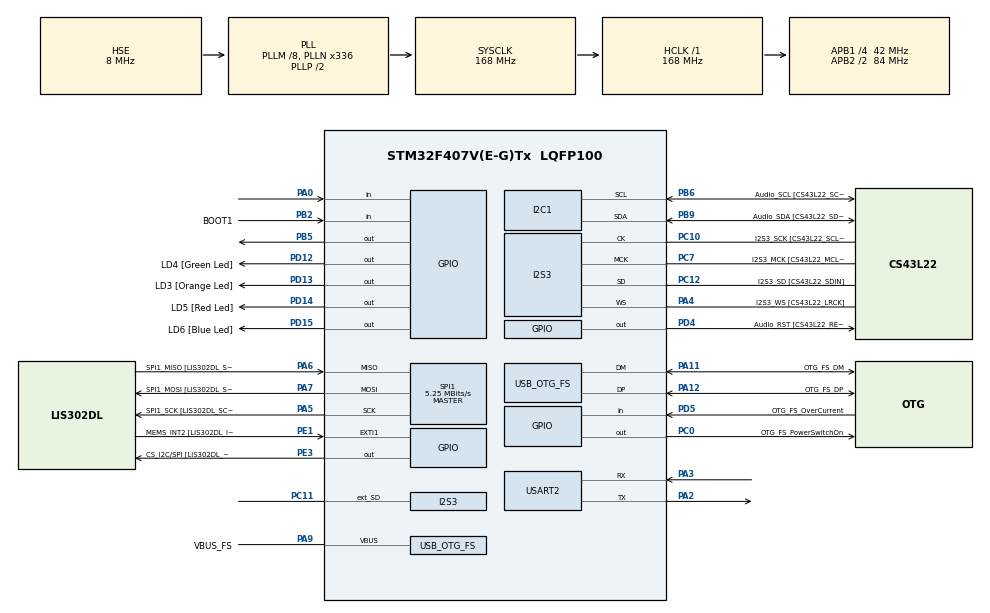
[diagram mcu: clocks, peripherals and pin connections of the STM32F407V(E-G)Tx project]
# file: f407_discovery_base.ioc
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Dma.Request0=SPI3_TX
Dma.SPI3_TX.0.Direction=DMA_MEMORY_TO_PERIPH
Dma.SPI3_TX.0.FIFOMode=DMA_FIFOMODE_DISABLE
Dma.SPI3_TX.0.Instance=DMA1_Stream5
Dma.SPI3_TX.0.MemDataAlignment=DMA_MDATAALIGN_BYTE
Dma.SPI3_TX.0.MemInc=DMA_MINC_ENABLE
Dma.SPI3_TX.0.Mode=DMA_NORMAL
Dma.SPI3_TX.0.PeriphDataAlignment=DMA_PDATAALIGN_BYTE
Dma.SPI3_TX.0.PeriphInc=DMA_PINC_DISABLE
Dma.SPI3_TX.0.Priority=DMA_PRIORITY_MEDIUM
I2S3.ErrorAudioFreq=-0.27 %
I2S3.FullDuplexMode=I2S_FULLDUPLEXMODE_ENABLE
I2S3.Instance=SPI$Index
I2S3.RealAudioFreq=7.978 KHz
I2S3.VirtualMode=I2S_MODE_MASTER
Mcu.Family=STM32F4
Mcu.Name=STM32F407V(E-G)Tx
Mcu.Package=LQFP100
NVIC.DMA1_Stream5_IRQn=true\:0\:0\:false\:false\:true\:false\:true\:true
NVIC.OTG_FS_IRQn=true\:0\:0\:false\:false\:true\:true\:true\:true
NVIC.PriorityGroup=NVIC_PRIORITYGROUP_0
PA0-WKUP.Signal=GPIO_Input
PA10.GPIO_Label=OTG_FS_ID
PA10.GPIO_Mode=GPIO_MODE_AF_PP
PA10.GPIO_PuPd=GPIO_NOPULL
PA10.GPIO_Speed=GPIO_SPEED_FREQ_LOW
PA10.Signal=USB_OTG_FS_ID
PA11.GPIO_Label=OTG_FS_DM
PA11.GPIO_Mode=GPIO_MODE_AF_PP
PA11.GPIO_PuPd=GPIO_NOPULL
PA11.GPIO_Speed=GPIO_SPEED_FREQ_LOW
PA11.Mode=Host_Only
PA11.Signal=USB_OTG_FS_DM
PA12.GPIO_Label=OTG_FS_DP
PA12.GPIO_Mode=GPIO_MODE_AF_PP
PA12.GPIO_PuPd=GPIO_NOPULL
PA12.GPIO_Speed=GPIO_SPEED_FREQ_LOW
PA12.Mode=Host_Only
PA12.Signal=USB_OTG_FS_DP
PA13.GPIO_Label=SWDIO
PA13.Mode=Serial_Wire
PA13.Signal=SYS_JTMS-SWDIO
PA14.GPIO_Label=SWCLK
PA14.Mode=Serial_Wire
PA14.Signal=SYS_JTCK-SWCLK
PA2.Mode=Asynchronous
PA2.Signal=USART2_TX
PA3.Mode=Asynchronous
PA3.Signal=USART2_RX
PA4.GPIO_Label=I2S3_WS [CS43L22_LRCK]
PA4.GPIO_Mode=GPIO_MODE_AF_PP
PA4.GPIO_PuPd=GPIO_NOPULL
PA4.GPIO_Speed=GPIO_SPEED_FREQ_LOW
PA4.Mode=Full_Duplex_Master
PA4.Signal=I2S3_WS
PA5.GPIO_Label=SPI1_SCK [LIS302DL_SCL/SPC]
PA5.GPIO_Mode=GPIO_MODE_AF_PP
PA5.GPIO_PuPd=GPIO_NOPULL
PA5.GPIO_Speed=GPIO_SPEED_FREQ_LOW
PA5.Mode=Full_Duplex_Master
PA5.Signal=SPI1_SCK
PA6.GPIO_Label=SPI1_MISO [LIS302DL_SDO]
PA6.GPIO_Mode=GPIO_MODE_AF_PP
PA6.GPIO_PuPd=GPIO_NOPULL
PA6.GPIO_Speed=GPIO_SPEED_FREQ_LOW
PA6.Mode=Full_Duplex_Master
PA6.Signal=SPI1_MISO
PA7.GPIO_Label=SPI1_MOSI [LIS302DL_SDA/SDI/SDO]
PA7.GPIO_Mode=GPIO_MODE_AF_PP
PA7.GPIO_PuPd=GPIO_NOPULL
PA7.GPIO_Speed=GPIO_SPEED_FREQ_LOW
PA7.Mode=Full_Duplex_Master
PA7.Signal=SPI1_MOSI
PA9.GPIO_Label=VBUS_FS
PA9.GPIO_Mode=GPIO_MODE_INPUT
PA9.GPIO_PuPd=GPIO_NOPULL
PA9.Mode=Activate_VBUS
PA9.Signal=USB_OTG_FS_VBUS
PB10.GPIO_Label=CLK_IN [MP45DT02_CLK]
PB10.GPIO_Mode=GPIO_MODE_AF_PP
PB10.GPIO_PuPd=GPIO_NOPULL
PB10.GPIO_Speed=GPIO_SPEED_FREQ_LOW
PB10.Signal=I2S2_CK
PB2.GPIO_Label=BOOT1
PB2.GPIO_Mode=GPIO_MODE_INPUT
PB2.GPIO_PuPd=GPIO_NOPULL
PB2.Signal=GPIO_Input
PB3.GPIO_Label=SWO
PB3.Signal=SYS_JTDO-SWO
PB5.Signal=GPIO_Output
PB6.GPIO_Label=Audio_SCL [CS43L22_SCL]
PB6.GPIO_Mode=GPIO_MODE_AF_OD
PB6.GPIO_Pu=GPIO_PULLUP
PB6.GPIO_PuPd=GPIO_NOPULL
PB6.GPIO_Speed=GPIO_SPEED_FREQ_LOW
PB6.Mode=I2C
PB6.Signal=I2C1_SCL
PB9.GPIO_Label=Audio_SDA [CS43L22_SDA]
PB9.GPIO_Mode=GPIO_MODE_AF_OD
PB9.GPIO_Pu=GPIO_PULLUP
PB9.GPIO_PuPd=GPIO_NOPULL
PB9.GPIO_Speed=GPIO_SPEED_FREQ_LOW
PB9.Mode=I2C
PB9.Signal=I2C1_SDA
PC0.GPIO_Label=OTG_FS_PowerSwitchOn
PC0.GPIO_PuPd=GPIO_NOPULL
PC0.GPIO_Speed=GPIO_SPEED_FREQ_LOW
PC0.PinState=GPIO_PIN_SET
PC0.Signal=GPIO_Output
PC10.GPIO_Label=I2S3_SCK [CS43L22_SCLK]
PC10.GPIO_Mode=GPIO_MODE_AF_PP
PC10.GPIO_PuPd=GPIO_NOPULL
PC10.GPIO_Speed=GPIO_SPEED_FREQ_LOW
PC10.Mode=Full_Duplex_Master
PC10.Signal=I2S3_CK
PC11.Mode=Full_Duplex_Master
PC11.Signal=I2S3_ext_SD
PC12.GPIO_Label=I2S3_SD [CS43L22_SDIN]
PC12.GPIO_Mode=GPIO_MODE_AF_PP
PC12.GPIO_PuPd=GPIO_NOPULL
PC12.GPIO_Speed=GPIO_SPEED_FREQ_LOW
PC12.Mode=Full_Duplex_Master
PC12.Signal=I2S3_SD
PC14-OSC32_IN.GPIO_Label=PC14-OSC32_IN
PC14-OSC32_IN.Mode=LSE-External-Oscillator
PC14-OSC32_IN.Signal=RCC_OSC32_IN
PC15-OSC32_OUT.GPIO_Label=PC15-OSC32_OUT
PC15-OSC32_OUT.Mode=LSE-External-Oscillator
PC15-OSC32_OUT.Signal=RCC_OSC32_OUT
PC3.GPIO_Label=PDM_OUT [MP45DT02_DOUT]
PC3.GPIO_Mode=GPIO_MODE_AF_PP
PC3.GPIO_PuPd=GPIO_NOPULL
PC3.GPIO_Speed=GPIO_SPEED_FREQ_LOW
PC3.Signal=I2S2_SD
PC7.GPIO_Label=I2S3_MCK [CS43L22_MCLK]
PC7.GPIO_Mode=GPIO_MODE_AF_PP
PC7.GPIO_PuPd=GPIO_NOPULL
PC7.GPIO_Speed=GPIO_SPEED_FREQ_LOW
PC7.Mode=Master_Clock_Activated
PC7.Signal=I2S3_MCK
PD12.GPIO_Label=LD4 [Green Led]
PD12.GPIO_PuPd=GPIO_NOPULL
PD12.GPIO_Speed=GPIO_SPEED_FREQ_LOW
PD12.Signal=GPIO_Output
PD13.GPIO_Label=LD3 [Orange Led]
PD13.GPIO_PuPd=GPIO_NOPULL
PD13.GPIO_Speed=GPIO_SPEED_FREQ_LOW
PD13.Signal=GPIO_Output
PD14.GPIO_Label=LD5 [Red Led]
PD14.GPIO_PuPd=GPIO_NOPULL
PD14.GPIO_Speed=GPIO_SPEED_FREQ_LOW
PD14.Signal=GPIO_Output
PD15.GPIO_Label=LD6 [Blue Led]
PD15.GPIO_PuPd=GPIO_NOPULL
PD15.GPIO_Speed=GPIO_SPEED_FREQ_LOW
PD15.Signal=GPIO_Output
PD4.GPIO_Label=Audio_RST [CS43L22_RESET]
PD4.GPIO_PuPd=GPIO_NOPULL
PD4.GPIO_Speed=GPIO_SPEED_FREQ_LOW
PD4.Signal=GPIO_Output
PD5.GPIO_Label=OTG_FS_OverCurrent
PD5.GPIO_Mode=GPIO_MODE_INPUT
PD5.GPIO_PuPd=GPIO_NOPULL
PD5.Signal=GPIO_Input
PE1.GPIO_Label=MEMS_INT2 [LIS302DL_INT2]
PE1.GPIO_ModeDefaultEXTI=GPIO_MODE_EVT_RISING
PE1.GPIO_PuPd=GPIO_NOPULL
PE1.Signal=GPXTI1
PE3.GPIO_Label=CS_I2C/SPI [LIS302DL_CS_I2C/SPI]
PE3.GPIO_PuPd=GPIO_NOPULL
PE3.GPIO_Speed=GPIO_SPEED_FREQ_LOW
PE3.Signal=GPIO_Output
PH0-OSC_IN.GPIO_Label=PH0-OSC_IN
PH0-OSC_IN.Mode=HSE-External-Oscillator
PH0-OSC_IN.Signal=RCC_OSC_IN
PH1-OSC_OUT.GPIO_Label=PH1-OSC_OUT
PH1-OSC_OUT.Mode=HSE-External-Oscillator
PH1-OSC_OUT.Signal=RCC_OSC_OUT
ProjectManager.HeapSize=0x200
ProjectManager.StackSize=0x400
ProjectManager.TargetToolchain=STM32CubeIDE
RCC.48MHZClocksFreq_Value=48000000
RCC.AHBFreq_Value=168000000
RCC.APB1CLKDivider=RCC_HCLK_DIV4
RCC.APB1Freq_Value=42000000
RCC.APB1TimFreq_Value=84000000
RCC.APB2CLKDivider=RCC_HCLK_DIV2
RCC.APB2Freq_Value=84000000
RCC.APB2TimFreq_Value=168000000
RCC.CortexFreq_Value=168000000
RCC.HCLKFreq_Value=168000000
RCC.HSE_VALUE=8000000
RCC.HSI_VALUE=16000000
RCC.PLLM=8
RCC.PLLN=336
RCC.PLLQ=7
RCC.SYSCLKFreq_VALUE=168000000
RCC.SYSCLKSource=RCC_SYSCLKSOURCE_PLLCLK
RCC.VCOOutputFreq_Value=336000000
SPI1.BaudRatePrescaler=SPI_BAUDRATEPRESCALER_16
SPI1.BaudRatePrescaler-Full_Duplex_Master=SPI_BAUDRATEPRESCALER_2
SPI1.CLKPolarity=SPI_POLARITY_HIGH
SPI1.CalculateBaudRate=5.25 MBits/s
SPI1.CalculateBaudRate-Full_Duplex_Master=42.0 MBits/s
SPI1.Direction=SPI_DIRECTION_2LINES
SPI1.Mode=SPI_MODE_MASTER
SPI1.Mode-Full_Duplex_Master=SPI_MODE_MASTER
SPI1.VirtualType=VM_MASTER
USART2.VirtualMode=VM_ASYNC
USB_HOST.BSP.number=1
USB_HOST.USBH_HandleTypeDef-CDC_FS=hUsbHostFS
USB_HOST.VirtualModeFS=Cdc
USB_HOST0.BSP.STBoard=false
USB_HOST0.BSP.api=Unknown
USB_HOST0.BSP.instance=PC0
USB_HOST0.BSP.ip=GPIO
USB_HOST0.BSP.mode=Output
USB_HOST0.BSP.name=Drive_VBUS_FS
USB_HOST0.BSP.solution=PC0
USB_OTG_FS.VirtualMode=Host_Only
USB_OTG_FS.phy_itface=HCD_PHY_EMBEDDED
VP_USB_HOST_VS_USB_HOST_CDC_FS.Mode=CDC_FS
board=STM32F407G-DISC1

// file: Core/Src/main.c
/* USER CODE BEGIN Header */
/**
  ******************************************************************************
  * @file           : main.c
  * @brief          : Main program body
  ******************************************************************************
  * @attention
  *
  * Copyright (c) 2025 STMicroelectronics.
  * All rights reserved.
  *
  * This software is licensed under terms that can be found in the LICENSE file
  * in the root directory of this software component.
  * If no LICENSE file comes with this software, it is provided AS-IS.
  *
  ******************************************************************************
  */
/* USER CODE END Header */
#include "main.h"
#include "dma.h"
#include "i2c.h"
#include "i2s.h"
#include "spi.h"
#include "usart.h"
#include "usb_host.h"
#include "gpio.h"

/* USER CODE BEGIN Includes */
#include <stdio.h>
#include <math.h>
/* USER CODE END Includes */

void SystemClock_Config(void);
void MX_USB_HOST_Process(void);

/* USER CODE BEGIN 0 */
#define LIS3DSH_CS_PORT GPIOB
#define LIS3DSH_CS_PIN  GPIO_PIN_5

#define LIS3DSH_CS_LOW()   HAL_GPIO_WritePin(LIS3DSH_CS_PORT, LIS3DSH_CS_PIN, GPIO_PIN_RESET)
#define LIS3DSH_CS_HIGH()  HAL_GPIO_WritePin(LIS3DSH_CS_PORT, LIS3DSH_CS_PIN, GPIO_PIN_SET)
extern SPI_HandleTypeDef hspi1;

#define CS43L22_ADDR 0x94
#define AUDIO_BUF_SIZE 256
int16_t audioBuffer[AUDIO_BUF_SIZE];

void Generate_SineWave(void)
{
  for (int i = 0; i < AUDIO_BUF_SIZE; i++)
  {
    audioBuffer[i] = (int16_t)(10000 * sin(2 * 3.141592 * i / AUDIO_BUF_SIZE));
  }
}

void Play_Sound(void)
{
  // HAL_I2S_Transmit(&hi2s3, (uint16_t *)audioBuffer, AUDIO_BUF_SIZE, HAL_MAX_DELAY);
  HAL_I2S_Transmit_DMA(&hi2s3, (uint16_t *)audioBuffer, AUDIO_BUF_SIZE);

}

void CS43L22_Write(uint8_t reg, uint8_t value)
{
  HAL_I2C_Mem_Write(&hi2c1, CS43L22_ADDR, reg, I2C_MEMADD_SIZE_8BIT, &value, 1, HAL_MAX_DELAY);
}

void CS43L22_Init(void)
{
  HAL_Delay(10);
  CS43L22_Write(0x02, 0x01);  // Power down (standby)
  CS43L22_Write(0x04, 0xA0);  // Headphone only
  CS43L22_Write(0x06, 0x07);  // Clock config
  CS43L22_Write(0x0A, 0x00);  // Speaker volume A (0dB)
  CS43L22_Write(0x0E, 0x00);  // HP A volume (0dB)
  CS43L22_Write(0x0F, 0x00);  // HP B volume (0dB)
  CS43L22_Write(0x02, 0x9E);  // Power on

}

extern I2C_HandleTypeDef hi2c1;
extern I2S_HandleTypeDef hi2s3;

/* USER CODE END 0 */

int main(void)
{

  /* MCU Configuration--------------------------------------------------------*/

  /* Reset of all peripherals, Initializes the Flash interface and the Systick. */
  HAL_Init();

  /* Configure the system clock */
  SystemClock_Config();

  /* Initialize all configured peripherals */
  MX_GPIO_Init();
  MX_DMA_Init();
  MX_I2C1_Init();
  MX_I2S3_Init();
  MX_SPI1_Init();
  MX_USB_HOST_Init();
  MX_USART2_UART_Init();
  /* USER CODE BEGIN 2 */
  CS43L22_Init();
  Generate_SineWave();

  uint8_t btnState = 0;
  uint8_t prevBtnState = 0;

  uint32_t pressedTime = 0;
  uint8_t blinking = 0;

  //LIS3DSH SPI Test
  LIS3DSH_CS_HIGH();
  HAL_Delay(100);

  LIS3DSH_Test();

  /* USER CODE END 2 */

  /* Infinite loop */
  while (1)
  {
    MX_USB_HOST_Process();

    /* USER CODE BEGIN 3 */
    MX_USB_HOST_Process();

//    printf("Hello World-! \r\n");
//    HAL_Delay(1000);

    btnState = HAL_GPIO_ReadPin(GPIOA, GPIO_PIN_0);

    if (btnState == GPIO_PIN_SET && prevBtnState == GPIO_PIN_RESET)
        {
          pressedTime = HAL_GetTick();
        }

    if (btnState == GPIO_PIN_SET && (HAL_GetTick() - pressedTime >= 2000))
    {
      blinking = 1;
    }

    if (btnState == GPIO_PIN_RESET && prevBtnState == GPIO_PIN_SET)
    {
      if (HAL_GetTick() - pressedTime < 2000)
      {
        HAL_GPIO_TogglePin(GPIOD, GPIO_PIN_12);   // Green
      }
      blinking = 0;
    }

    if (blinking)
    {
      HAL_GPIO_TogglePin(GPIOD, GPIO_PIN_15);    // Blue
      HAL_Delay(50);
    }
    else
    {
      HAL_Delay(10);
    }
    prevBtnState = btnState;

    LIS3DSH_ReadXYZ();
    HAL_Delay(500);

  }
  Play_Sound();
  /* USER CODE END 3 */
}

void SystemClock_Config(void)
{
  RCC_OscInitTypeDef RCC_OscInitStruct = {0};
  RCC_ClkInitTypeDef RCC_ClkInitStruct = {0};

  /** Configure the main internal regulator output voltage
  */
  __HAL_RCC_PWR_CLK_ENABLE();
  __HAL_PWR_VOLTAGESCALING_CONFIG(PWR_REGULATOR_VOLTAGE_SCALE1);

  /** Initializes the RCC Oscillators according to the specified parameters
  * in the RCC_OscInitTypeDef structure.
  */
  RCC_OscInitStruct.OscillatorType = RCC_OSCILLATORTYPE_HSE;
  RCC_OscInitStruct.HSEState = RCC_HSE_ON;
  RCC_OscInitStruct.PLL.PLLState = RCC_PLL_ON;
  RCC_OscInitStruct.PLL.PLLSource = RCC_PLLSOURCE_HSE;
  RCC_OscInitStruct.PLL.PLLM = 8;
  RCC_OscInitStruct.PLL.PLLN = 336;
  RCC_OscInitStruct.PLL.PLLP = RCC_PLLP_DIV2;
  RCC_OscInitStruct.PLL.PLLQ = 7;
  if (HAL_RCC_OscConfig(&RCC_OscInitStruct) != HAL_OK)
  {
    Error_Handler();
  }

  /** Initializes the CPU, AHB and APB buses clocks
  */
  RCC_ClkInitStruct.ClockType = RCC_CLOCKTYPE_HCLK|RCC_CLOCKTYPE_SYSCLK
                              |RCC_CLOCKTYPE_PCLK1|RCC_CLOCKTYPE_PCLK2;
  RCC_ClkInitStruct.SYSCLKSource = RCC_SYSCLKSOURCE_PLLCLK;
  RCC_ClkInitStruct.AHBCLKDivider = RCC_SYSCLK_DIV1;
  RCC_ClkInitStruct.APB1CLKDivider = RCC_HCLK_DIV4;
  RCC_ClkInitStruct.APB2CLKDivider = RCC_HCLK_DIV2;

  if (HAL_RCC_ClockConfig(&RCC_ClkInitStruct, FLASH_LATENCY_5) != HAL_OK)
  {
    Error_Handler();
  }
}

/* USER CODE BEGIN 4 */
/* printf() - override */

int _write(int file, char *ptr, int len)
{
    HAL_UART_Transmit(&huart2, (uint8_t*)ptr, len, HAL_MAX_DELAY);
    return len;
}

uint8_t LIS3DSH_ReadReg(uint8_t reg)
{
  uint8_t tx[2];
  uint8_t rx[2];

  tx[0] = reg | 0x80; // read : MSB = 1
  tx[1] = 0x00;

  LIS3DSH_CS_LOW();
  HAL_SPI_TransmitReceive(&hspi1, tx, rx, 2, HAL_MAX_DELAY);
  LIS3DSH_CS_HIGH();

  return rx[1];
}

void LIS3DSH_Test(void)
{
  uint8_t id = LIS3DSH_ReadReg(0x0F);   // read who am i reg

  if (id == 0x3F)  // LIS3DSH ID
  {
    printf("LIS3DSH detected! WHO_AM_I = 0x%02X\r\n", id);
  }
  else
  {
    printf("LIS3DSH not found. Read: 0x%02X\r\n", id);
  }
}

int16_t LIS3DSH_ReadAxis(uint8_t addr_l, uint8_t addr_h)
{
  uint8_t low = LIS3DSH_ReadReg(addr_l);      // read LSB
  uint8_t high = LIS3DSH_ReadReg(addr_h);     // read MSB
  return (uint16_t)((high << 8) | low);       // 16 bit (MSB + LSB)
}

void LIS3DSH_ReadXYZ(void)
{
  int16_t x = LIS3DSH_ReadAxis(0x28, 0x29);    // x-LSB, x-MSB
  int16_t y = LIS3DSH_ReadAxis(0x2A, 0x2B);
  int16_t z = LIS3DSH_ReadAxis(0x2C, 0x2D);

  printf("X: %d, Y: %d, Z: %d \r\n", x, y, z);
}

/* USER CODE END 4 */

void Error_Handler(void)
{
  __disable_irq();
  while (1)
  {
  }
}
